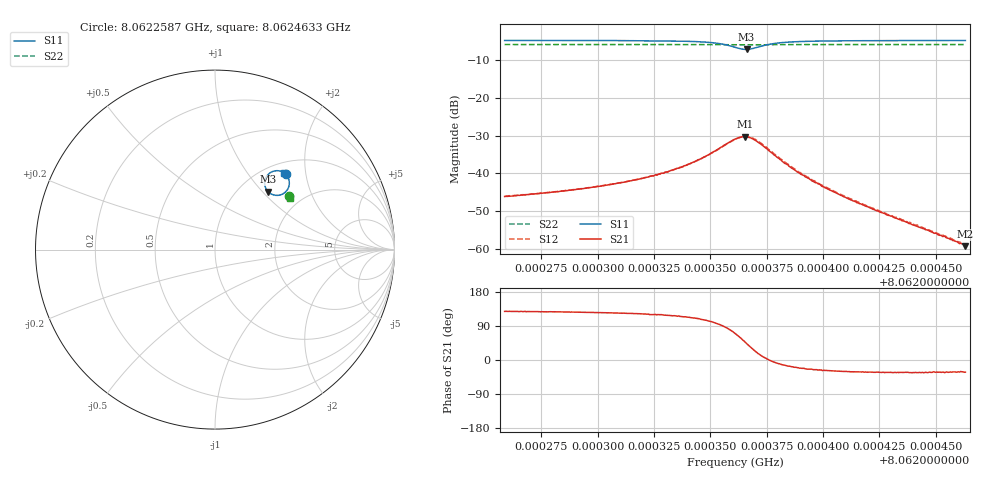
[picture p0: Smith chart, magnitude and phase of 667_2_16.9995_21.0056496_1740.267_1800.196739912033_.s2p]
#  HZ  S  RI  R  50.00
! Rohde & Schwarz Vector Network Analyzer
! Rohde-Schwarz,ZNB20-2Port,1311601062101988,3.16
! Created: UTC 3/20/2024, 11:22:00 PM
! freq[Hz]  re:S11  im:S11  re:S21  im:S21  re:S12  im:S12  re:S22  im:S22
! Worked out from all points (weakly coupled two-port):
!   401 points, 8.0622587 GHz to 8.0624633 GHz, reference 50 ohm
!   highest |S21| = -30.28 dB at 8.0623656 GHz (marker M1); lowest = -59.3 dB at 8.0624633 GHz (marker M2)
!   lowest |S11| = -7.2 dB at 8.0623661 GHz (marker M3), VSWR 2.56, Z = 67.6 + j53.8 ohm
!   |S11| at or under -10 dB: nowhere
!   |S22| runs from -6.0 to -5.9 dB; largest |S21 - S12| = 0.0013
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8.06225872e9  0.3952 0.4187  -0.00306 0.00387  -0.00281 0.00406  0.4131 0.2972
8.06229298e9  0.4006 0.412  -0.00368 0.00505  -0.00339 0.00527  0.4141 0.2951
8.06231088e9  0.4048 0.4057  -0.00417 0.00632  -0.00381 0.00657  0.4149 0.294
8.06232724e9  0.4097 0.3954  -0.00487 0.00854  -0.00429 0.00876  0.4155 0.2926
8.06233389e9  0.4118 0.3882  -0.00512 0.01  -0.00446 0.0102  0.4156 0.2919
8.06234207e9  0.414 0.3746  -0.00501 0.0129  -0.00437 0.0131  0.4158 0.2911
8.06234872e9  0.4125 0.3562  -0.0041 0.0168  -0.00333 0.0169  0.4158 0.29
8.06235383e9  0.4038 0.3346  -0.00157 0.0211  -0.000773 0.0211  0.4153 0.2889
8.06235741e9  0.3876 0.3165  0.00244 0.0247  0.0032 0.0243  0.4146 0.2881
8.06236099e9  0.3564 0.303  0.00952 0.0267  0.0102 0.0263  0.4132 0.2876
8.06236355e9  0.326 0.3049  0.016 0.0255  0.0166 0.0251  0.412 0.288
8.06236559e9  0.302 0.3173  0.0211 0.0222  0.0216 0.0219  0.4112 0.2887
8.0623661e9  0.2968 0.3221  0.022 0.0209  0.0226 0.0208  0.411 0.2889
8.06236815e9  0.2819 0.3445  0.0247 0.0157  0.0255 0.0155  0.4106 0.29
8.06237071e9  0.2767 0.3746  0.025 0.00897  0.026 0.00862  0.4106 0.2911
8.06237735e9  0.3007 0.4231  0.0186 -0.00104  0.0192 -0.00181  0.4125 0.2928
8.06238605e9  0.3329 0.4384  0.0112 -0.00358  0.0114 -0.00436  0.4146 0.2926
8.06239525e9  0.3519 0.4393  0.00717 -0.00327  0.00727 -0.00384  0.4158 0.292
8.06240752e9  0.3654 0.4368  0.0045 -0.00258  0.00447 -0.0029  0.4168 0.2912
8.06242951e9  0.3771 0.432  0.00234 -0.00149  0.00231 -0.00164  0.4179 0.2896
8.06245559e9  0.3842 0.4278  0.00116 -0.000744  0.00117 -0.000847  0.419 0.2881
8.06246326e9  0.3856 0.4268  0.000919 -0.000576  0.000909 -0.000656  0.4191 0.2878
